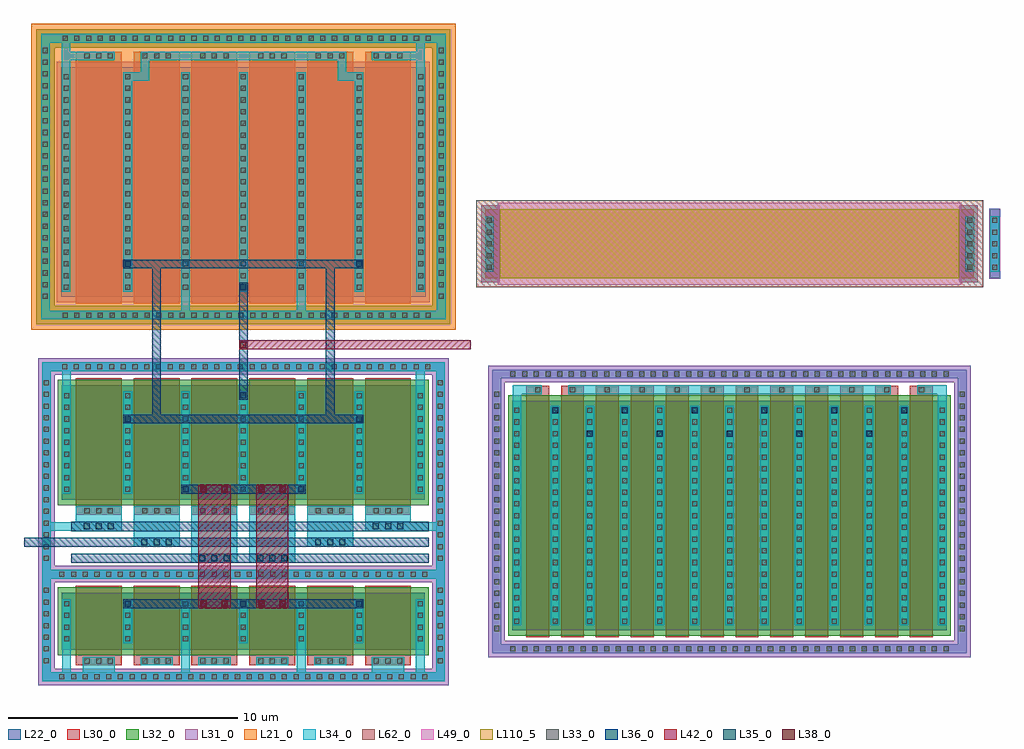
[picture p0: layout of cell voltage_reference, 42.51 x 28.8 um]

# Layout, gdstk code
from math import pi, radians
import gdstk
lib = gdstk.Library(unit=1e-6, precision=5e-09)
def R(c, l, rs):  # rectangles x0, y0, x1, y1
    for r in rs: c.add(gdstk.rectangle(r[:2], r[2:], *l))
def A(c, l, x, y, w, h, nx, ny, dx, dy):  # array of equal rectangles
    R(c, l, [(x+i*dx, y+j*dy, x+i*dx+w, y+j*dy+h) for i in range(nx) for j in range(ny)])
def P(c, l, *ps):  # polygons
    for p in ps: c.add(gdstk.Polygon(p, *l))
L21_0 = (21, 0)
L22_0 = (22, 0)
L30_0 = (30, 0)
L31_0 = (31, 0)
L32_0 = (32, 0)
L33_0 = (33, 0)
L34_0 = (34, 0)
L35_0 = (35, 0)
L36_0 = (36, 0)
L38_0 = (38, 0)
L42_0 = (42, 0)
L49_0 = (49, 0)
L62_0 = (62, 0)
L110_5 = (110, 5)

nfet = lib.new_cell('nfet')
R(nfet, L22_0, [(-0.42,0,0,2.5), (0,0,14.98,2.5), (14.98,0,15.4,2.5)])
P(nfet, L22_0, [(-1.28,-1.36),(-1.28,3.11),(-0.9,3.11),(-0.9,-0.98),(15.88,-0.98),(15.88,3.11),(-1.28,3.11),(-1.28,3.49),(16.26,3.49),(16.26,-1.36)])
A(nfet, L30_0, 0.19, -0.66, 2, 0.36, 6, 1, 2.52, 0)
A(nfet, L30_0, 0.19, -0.3, 2, 3.1, 6, 1, 2.52, 0)
P(nfet, L31_0, [(-1.45,-1.53),(-1.45,2.94),(-0.73,2.94),(-0.73,-0.81),(15.71,-0.81),(15.71,2.94),(-1.45,2.94),(-1.45,3.66),(16.43,3.66),(16.43,-1.53)])
R(nfet, L32_0, [(-0.59,-0.24,15.57,2.74)])
A(nfet, L33_0, -0.525, -1.28, 0.22, 0.22, 32, 2, 0.51, 4.47)
A(nfet, L33_0, 0.57, -0.59, 0.22, 0.22, 3, 1, 0.51, 0)
A(nfet, L33_0, 3.09, -0.59, 0.22, 0.22, 3, 1, 0.51, 0)
A(nfet, L33_0, 5.61, -0.59, 0.22, 0.22, 3, 1, 0.51, 0)
A(nfet, L33_0, 8.13, -0.59, 0.22, 0.22, 3, 1, 0.51, 0)
A(nfet, L33_0, 10.65, -0.59, 0.22, 0.22, 3, 1, 0.51, 0)
A(nfet, L33_0, 13.17, -0.59, 0.22, 0.22, 3, 1, 0.51, 0)
A(nfet, L33_0, -1.2, -0.575, 0.22, 0.22, 1, 7, 0, 0.51)
A(nfet, L33_0, 15.96, -0.575, 0.22, 0.22, 1, 7, 0, 0.51)
A(nfet, L33_0, -0.32, 0.375, 0.22, 0.22, 1, 4, 0, 0.51)
A(nfet, L33_0, 2.34, 0.375, 0.22, 0.22, 5, 4, 2.52, 0.51)
A(nfet, L33_0, 15.08, 0.375, 0.22, 0.22, 1, 4, 0, 0.51)
A(nfet, L34_0, 0.49, -0.67, 1.4, 0.38, 6, 1, 2.52, 0)
A(nfet, L34_0, 2.26, 0.295, 0.38, 1.91, 5, 1, 2.52, 0)
R(nfet, L34_0, [(-0.4,0.295,-0.02,2.205), (15,0.295,15.38,2.205)])

nfet_3 = lib.new_cell('nfet$3')
R(nfet_3, L22_0, [(-0.42,0,0,10), (0,0,18.1,10), (18.1,0,18.52,10)])
P(nfet_3, L22_0, [(-1.28,-0.99),(-1.28,10.98),(-0.9,10.98),(-0.9,-0.61),(19,-0.61),(19,10.98),(-1.28,10.98),(-1.28,11.36),(19.38,11.36),(19.38,-0.99)])
A(nfet_3, L30_0, 0.19, -0.3, 1, 10.6, 12, 1, 1.52, 0)
A(nfet_3, L30_0, 0.19, 10.3, 1, 0.36, 12, 1, 1.52, 0)
P(nfet_3, L31_0, [(-1.45,-1.16),(-1.45,10.81),(-0.73,10.81),(-0.73,-0.44),(18.83,-0.44),(18.83,10.81),(-1.45,10.81),(-1.45,11.53),(19.55,11.53),(19.55,-1.16)])
R(nfet_3, L32_0, [(-0.59,-0.24,18.69,10.24)])
A(nfet_3, L33_0, -0.495, -0.91, 0.22, 0.22, 38, 2, 0.51, 11.97)
A(nfet_3, L33_0, -1.2, -0.025, 0.22, 0.22, 1, 21, 0, 0.51)
A(nfet_3, L33_0, 19.08, -0.025, 0.22, 0.22, 1, 21, 0, 0.51)
A(nfet_3, L33_0, -0.32, 0.3, 0.22, 0.22, 1, 19, 0, 0.51)
A(nfet_3, L33_0, 1.34, 0.3, 0.22, 0.22, 11, 19, 1.52, 0.51)
A(nfet_3, L33_0, 18.2, 0.3, 0.22, 0.22, 1, 19, 0, 0.51)
A(nfet_3, L33_0, 0.58, 10.37, 0.22, 0.22, 12, 1, 1.52, 0)
A(nfet_3, L34_0, 1.26, 0.22, 0.38, 9.56, 11, 1, 1.52, 0)
A(nfet_3, L34_0, 0.5, 10.29, 0.38, 0.38, 12, 1, 1.52, 0)
R(nfet_3, L34_0, [(-0.4,0.22,-0.02,9.78), (18.12,0.22,18.5,9.78)])

ppolyf_u_high_rs_resisto = lib.new_cell('ppolyf_u_high_Rs_resistor')
R(ppolyf_u_high_rs_resisto, L22_0, [(-1.76,0,-1.34,3)])
R(ppolyf_u_high_rs_resisto, L30_0, [(-0.64,0,20.64,3)])
R(ppolyf_u_high_rs_resisto, L31_0, [(-0.82,-0.18,0,3.18), (20,-0.18,20.82,3.18), (-1.78,-0.02,-1.32,3.02)])
A(ppolyf_u_high_rs_resisto, L33_0, -1.66, 0.37, 0.22, 0.22, 1, 5, 0, 0.51)
A(ppolyf_u_high_rs_resisto, L33_0, -0.57, 0.37, 0.22, 0.22, 1, 5, 0, 0.51)
A(ppolyf_u_high_rs_resisto, L33_0, 20.35, 0.37, 0.22, 0.22, 1, 5, 0, 0.51)
R(ppolyf_u_high_rs_resisto, L34_0, [(-1.74,0.29,-1.36,2.71), (-0.65,0.29,-0.27,2.71), (20.27,0.29,20.65,2.71)])
R(ppolyf_u_high_rs_resisto, L49_0, [(-0.1,-0.28,20.1,3.28)])
R(ppolyf_u_high_rs_resisto, L62_0, [(-1.04,-0.4,21.04,3.4)])
R(ppolyf_u_high_rs_resisto, L110_5, [(0,0,20,3)])

voltage_reference = lib.new_cell('voltage_reference')
R(voltage_reference, L21_0, [(7.805,29.03,26.305,42.345)])
R(voltage_reference, L22_0, [(9.145,21.615,9.565,26.615), (9.565,21.615,24.545,26.615), (24.545,21.615,24.965,26.615), (9.105,30.46,9.565,40.46), (9.565,30.46,24.545,40.46), (24.545,30.46,25.005,40.46)])
P(voltage_reference, L22_0, [(8.285,18.185),(8.285,27.225),(8.665,27.225),(8.665,18.565),(25.445,18.565),(25.445,27.225),(8.285,27.225),(8.285,27.605),(25.825,27.605),(25.825,18.185)],
  [(8.245,29.47),(8.245,41.525),(8.625,41.525),(8.625,29.85),(25.485,29.85),(25.485,41.525),(8.245,41.525),(8.245,41.905),(25.865,41.905),(25.865,29.47)])
A(voltage_reference, L30_0, 9.755, 20.955, 2, 0.36, 6, 1, 2.52, 0)
A(voltage_reference, L30_0, 9.755, 21.315, 2, 5.6, 6, 1, 2.52, 0)
A(voltage_reference, L30_0, 9.755, 30.16, 2, 10.6, 6, 1, 2.52, 0)
A(voltage_reference, L30_0, 9.755, 40.76, 2, 0.38, 6, 1, 2.52, 0)
R(voltage_reference, L31_0, [(8.935,30.22,25.175,40.7)])
P(voltage_reference, L31_0, [(8.115,18.015),(8.115,27.055),(8.835,27.055),(8.835,18.735),(25.275,18.735),(25.275,27.055),(8.115,27.055),(8.115,27.775),(25.995,27.775),(25.995,18.015)])
R(voltage_reference, L32_0, [(8.975,21.375,25.135,26.855)])
A(voltage_reference, L33_0, 9.04, 18.265, 0.22, 0.22, 32, 1, 0.51, 0)
A(voltage_reference, L33_0, 8.365, 18.96, 0.22, 0.22, 1, 16, 0, 0.51)
A(voltage_reference, L33_0, 25.525, 18.96, 0.22, 0.22, 1, 16, 0, 0.51)
A(voltage_reference, L33_0, 10.135, 21.025, 0.22, 0.22, 3, 2, 0.51, 19.815)
A(voltage_reference, L33_0, 12.655, 21.025, 0.22, 0.22, 3, 2, 0.51, 19.815)
A(voltage_reference, L33_0, 15.175, 21.025, 0.22, 0.22, 3, 2, 0.51, 19.815)
A(voltage_reference, L33_0, 17.695, 21.025, 0.22, 0.22, 3, 2, 0.51, 19.815)
A(voltage_reference, L33_0, 20.215, 21.025, 0.22, 0.22, 3, 2, 0.51, 19.815)
A(voltage_reference, L33_0, 22.735, 21.025, 0.22, 0.22, 3, 2, 0.51, 19.815)
A(voltage_reference, L33_0, 9.245, 21.965, 0.22, 0.22, 1, 9, 0, 0.51)
A(voltage_reference, L33_0, 11.905, 21.965, 0.22, 0.22, 5, 9, 2.52, 0.51)
A(voltage_reference, L33_0, 24.645, 21.965, 0.22, 0.22, 1, 9, 0, 0.51)
A(voltage_reference, L33_0, 9.165, 27.305, 0.22, 0.22, 32, 1, 0.51, 0)
A(voltage_reference, L33_0, 9.185, 29.55, 0.22, 0.22, 32, 2, 0.51, 12.055)
A(voltage_reference, L33_0, 8.325, 30.365, 0.22, 0.22, 1, 22, 0, 0.51)
A(voltage_reference, L33_0, 25.565, 30.365, 0.22, 0.22, 1, 22, 0, 0.51)
A(voltage_reference, L33_0, 9.225, 30.76, 0.22, 0.22, 1, 19, 0, 0.51)
A(voltage_reference, L33_0, 11.905, 30.76, 0.22, 0.22, 5, 19, 2.52, 0.51)
A(voltage_reference, L33_0, 24.665, 30.76, 0.22, 0.22, 1, 19, 0, 0.51)
A(voltage_reference, L34_0, 10.055, 20.945, 1.4, 0.38, 6, 2, 2.52, 19.815)
A(voltage_reference, L34_0, 11.825, 21.885, 0.38, 4.46, 5, 1, 2.52, 0)
A(voltage_reference, L34_0, 11.825, 30.68, 0.38, 9.56, 5, 1, 2.52, 0)
R(voltage_reference, L34_0, [(10.055,14.095,11.455,14.405), (22.655,14.095,24.055,14.405), (14.795,18.875,16.795,21.325), (17.315,18.875,19.315,21.325), (12.275,19.565,14.275,21.325), (19.835,19.565,21.835,21.325), (9.755,20.255,11.755,21.325), (22.355,20.255,24.355,21.325), (9.165,21.885,9.545,26.345), (24.565,21.885,24.945,26.345), (31.2,26.215,45.26,26.595), (9.145,30.68,9.525,40.24), (24.585,30.68,24.965,40.24), (12.575,40.76,21.535,41.14)])
A(voltage_reference, L35_0, 15.135, 18.945, 0.26, 0.26, 3, 1, 0.53, 0)
A(voltage_reference, L35_0, 17.655, 18.945, 0.26, 0.26, 3, 1, 0.53, 0)
A(voltage_reference, L35_0, 12.615, 19.635, 0.26, 0.26, 3, 1, 0.53, 0)
A(voltage_reference, L35_0, 20.175, 19.635, 0.26, 0.26, 3, 1, 0.53, 0)
A(voltage_reference, L35_0, 10.095, 20.325, 0.26, 0.26, 3, 1, 0.53, 0)
A(voltage_reference, L35_0, 22.695, 20.325, 0.26, 0.26, 3, 1, 0.53, 0)
A(voltage_reference, L35_0, 32.02, 24.365, 0.26, 0.26, 5, 1, 3.04, 0)
A(voltage_reference, L35_0, 30.5, 25.385, 0.26, 0.26, 6, 1, 3.04, 0)
R(voltage_reference, L35_0, [(11.885,16.96,12.145,17.22), (21.965,16.96,22.225,17.22), (16.925,16.965,17.185,17.225), (14.405,21.945,14.665,22.205), (19.445,21.945,19.705,22.205), (11.885,25.005,12.145,25.265), (21.965,25.005,22.225,25.265), (16.925,26.03,17.185,26.29), (16.925,30.74,17.185,31), (11.885,31.76,12.145,32.02), (21.965,31.76,22.225,32.02)])
R(voltage_reference, L36_0, [(9.565,18.875,25.135,19.275), (7.5,19.565,25.135,19.965), (9.565,20.255,25.135,20.655)])
R(voltage_reference, L38_0, [(15.205,16.96,15.465,17.22), (16.115,16.96,16.375,17.22), (17.735,16.96,17.995,17.22), (18.645,16.96,18.905,17.22), (15.205,21.945,15.465,22.205), (16.115,21.945,16.375,22.205), (17.735,21.945,17.995,22.205), (18.645,21.945,18.905,22.205), (16.925,28.24,17.185,28.5)])
R(voltage_reference, L42_0, [(15.095,16.9,16.5,22.265), (17.615,16.9,19.02,22.265)])
voltage_reference.add(gdstk.FlexPath([(8.475,14.5),(8.475,27.415),(25.635,27.415),(25.635,14.5),(25.635,14.5),(25.635,13.905),(8.475,13.905),(8.475,14.5)], 0.38, ends="flush", simple_path=True, layer=34, datatype=0))  # L34_0
voltage_reference.add(gdstk.FlexPath([(8.665,18.375),(25.445,18.375)], 0.38, ends="flush", simple_path=True, layer=34, datatype=0))  # L34_0
voltage_reference.add(gdstk.FlexPath([(8.435,41.01),(8.435,29.66),(25.675,29.66),(25.675,41.715),(8.435,41.715),(8.435,41.01)], 0.38, ends="flush", simple_path=True, layer=34, datatype=0))  # L34_0
voltage_reference.add(gdstk.FlexPath([(9.355,15.37),(9.355,14.095)], 0.38, ends="flush", simple_path=True, layer=34, datatype=0))  # L34_0
voltage_reference.add(gdstk.FlexPath([(14.535,15.37),(14.535,14.095)], 0.38, ends="flush", simple_path=True, layer=34, datatype=0))  # L34_0
voltage_reference.add(gdstk.FlexPath([(19.575,15.37),(19.575,14.095)], 0.38, ends="flush", simple_path=True, layer=34, datatype=0))  # L34_0
voltage_reference.add(gdstk.FlexPath([(24.755,15.37),(24.755,14.095)], 0.38, ends="flush", simple_path=True, layer=34, datatype=0))  # L34_0
voltage_reference.add(gdstk.FlexPath([(9.755,20.455),(8.665,20.455)], 0.38, ends="flush", simple_path=True, layer=34, datatype=0))  # L34_0
voltage_reference.add(gdstk.FlexPath([(9.355,26.345),(9.355,27.225)], 0.38, ends="flush", simple_path=True, layer=34, datatype=0))  # L34_0
voltage_reference.add(gdstk.FlexPath([(24.755,26.345),(24.755,27.225)], 0.38, ends="flush", simple_path=True, layer=34, datatype=0))  # L34_0
voltage_reference.add(gdstk.FlexPath([(24.355,20.455),(25.445,20.455)], 0.38, ends="flush", simple_path=True, layer=34, datatype=0))  # L34_0
voltage_reference.add(gdstk.FlexPath([(12.205,40.05),(12.765,40.05),(12.765,40.76),(12.765,40.76)], 0.38, ends="flush", simple_path=True, layer=34, datatype=0))  # L34_0
voltage_reference.add(gdstk.FlexPath([(21.905,40.05),(21.345,40.05),(21.345,40.76)], 0.38, ends="flush", simple_path=True, layer=34, datatype=0))  # L34_0
voltage_reference.add(gdstk.FlexPath([(9.335,40.24),(9.335,40.95),(10.055,40.95),(10.055,40.95)], 0.38, ends="flush", simple_path=True, layer=34, datatype=0))  # L34_0
voltage_reference.add(gdstk.FlexPath([(24.055,40.95),(24.775,40.95),(24.775,40.24)], 0.38, ends="flush", simple_path=True, layer=34, datatype=0))  # L34_0
voltage_reference.add(gdstk.FlexPath([(24.775,41.14),(24.775,41.525)], 0.38, ends="flush", simple_path=True, layer=34, datatype=0))  # L34_0
voltage_reference.add(gdstk.FlexPath([(9.335,41.14),(9.335,41.525)], 0.38, ends="flush", simple_path=True, layer=34, datatype=0))  # L34_0
voltage_reference.add(gdstk.FlexPath([(14.535,30.68),(14.535,29.85)], 0.38, ends="flush", simple_path=True, layer=34, datatype=0))  # L34_0
voltage_reference.add(gdstk.FlexPath([(19.575,30.68),(19.575,29.85)], 0.38, ends="flush", simple_path=True, layer=34, datatype=0))  # L34_0
voltage_reference.add(gdstk.FlexPath([(30.06,26.405),(28.97,26.405),(28.97,25.705),(28.97,25.705)], 0.38, ends="flush", simple_path=True, layer=34, datatype=0))  # L34_0
voltage_reference.add(gdstk.FlexPath([(47.49,25.705),(47.49,26.405),(46.78,26.405)], 0.38, ends="flush", simple_path=True, layer=34, datatype=0))  # L34_0
voltage_reference.add(gdstk.FlexPath([(8.435,30.365),(8.435,41.715),(25.675,41.715),(25.675,29.66),(8.435,29.66),(8.435,30.365)], 0.8, ends="flush", simple_path=True, layer=32, datatype=0))  # L32_0
voltage_reference.add(gdstk.FlexPath([(14.345,22.075),(19.765,22.075)], 0.38, ends="flush", simple_path=True, layer=36, datatype=0))  # L36_0
voltage_reference.add(gdstk.FlexPath([(11.825,17.09),(22.285,17.09)], 0.38, ends="flush", simple_path=True, layer=36, datatype=0))  # L36_0
voltage_reference.add(gdstk.FlexPath([(11.825,25.135),(22.285,25.135)], 0.38, ends="flush", simple_path=True, layer=36, datatype=0))  # L36_0
voltage_reference.add(gdstk.FlexPath([(11.825,31.89),(22.285,31.89)], 0.38, ends="flush", simple_path=True, layer=36, datatype=0))  # L36_0
voltage_reference.add(gdstk.FlexPath([(17.055,25.975),(17.055,31.07)], 0.38, ends="flush", simple_path=True, layer=36, datatype=0))  # L36_0
voltage_reference.add(gdstk.FlexPath([(13.27,31.7),(13.27,25.325)], 0.38, ends="flush", simple_path=True, layer=36, datatype=0))  # L36_0
voltage_reference.add(gdstk.FlexPath([(20.835,31.7),(20.835,25.325)], 0.38, ends="flush", simple_path=True, layer=36, datatype=0))  # L36_0
voltage_reference.add(gdstk.FlexPath([(16.865,28.37),(26.96,28.37)], 0.38, ends="flush", simple_path=True, layer=42, datatype=0))  # L42_0
voltage_reference.add(gdstk.Reference(nfet, (9.565,15.075)))
voltage_reference.add(gdstk.Reference(nfet_3, (29.18,15.925)))
voltage_reference.add(gdstk.Reference(ppolyf_u_high_rs_resisto, (48.23,34.265), rotation=pi))

lib.write_gds('voltage_reference.gds')
